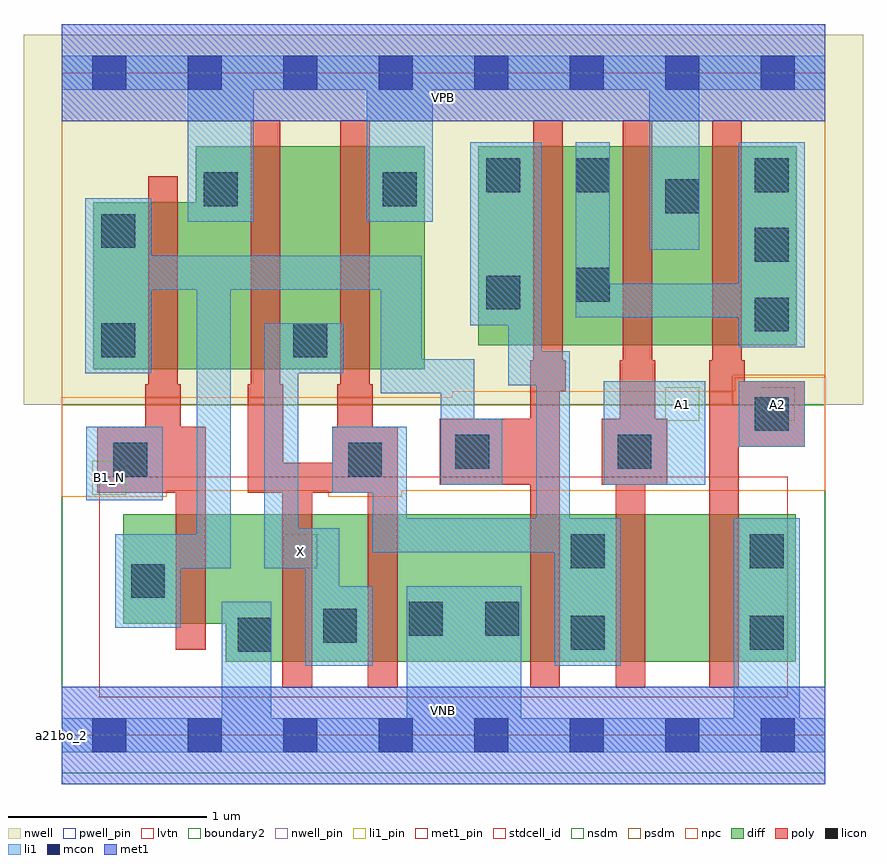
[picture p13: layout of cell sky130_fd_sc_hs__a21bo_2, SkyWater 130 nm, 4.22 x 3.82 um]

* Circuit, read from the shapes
.subckt sky130_fd_sc_hs__a21bo_2 A1 A2 B1_N VGND VNB VPB VPWR X
XM1 VGND B1_N n1 VNB sky130_fd_pr__nfet_01v8_lvt w=0.55 l=0.15
XM2 X n2 VGND VNB sky130_fd_pr__nfet_01v8_lvt w=0.74 l=0.15 m=2
XM3 n2 n1 VGND VNB sky130_fd_pr__nfet_01v8_lvt w=0.74 l=0.15
XM4 n3 A1 n2 VNB sky130_fd_pr__nfet_01v8_lvt w=0.74 l=0.15
XM5 VGND A2 n3 VNB sky130_fd_pr__nfet_01v8_lvt w=0.74 l=0.15
XM6 VPWR B1_N n1 VPB sky130_fd_pr__pfet_01v8 w=0.84 l=0.15
XM7 X n2 VPWR VPB sky130_fd_pr__pfet_01v8 w=1.12 l=0.15 m=2
XM8 n4 n1 n2 VPB sky130_fd_pr__pfet_01v8 w=1 l=0.15
XM9 VPWR A1 n4 VPB sky130_fd_pr__pfet_01v8 w=1 l=0.15
XM10 n4 A2 VPWR VPB sky130_fd_pr__pfet_01v8 w=1 l=0.15
.ends

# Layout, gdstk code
import gdstk
lib = gdstk.Library(unit=1e-6, precision=1e-09)
def R(c, l, rs):  # rectangles x0, y0, x1, y1
    for r in rs: c.add(gdstk.rectangle(r[:2], r[2:], *l))
def A(c, l, x, y, w, h, nx, ny, dx, dy):  # array of equal rectangles
    R(c, l, [(x+i*dx, y+j*dy, x+i*dx+w, y+j*dy+h) for i in range(nx) for j in range(ny)])
def P(c, l, *ps):  # polygons
    for p in ps: c.add(gdstk.Polygon(p, *l))
nwell_pin = (64, 16)
nwell = (64, 20)
diff = (65, 20)
poly = (66, 20)
licon = (66, 44)
li1_pin = (67, 16)
li1 = (67, 20)
mcon = (67, 44)
met1_pin = (68, 16)
met1 = (68, 20)
stdcell_id = (81, 4)
nsdm = (93, 44)
psdm = (94, 20)
npc = (95, 20)
pwell_pin = (122, 16)
lvtn = (125, 44)
boundary2 = (236, 0)

sky130_fd_sc_hs__a21bo_2 = lib.new_cell('sky130_fd_sc_hs__a21bo_2')
R(sky130_fd_sc_hs__a21bo_2, nwell_pin, [(0,3.085,3.84,3.33)])
R(sky130_fd_sc_hs__a21bo_2, nwell, [(-0.19,1.66,4.03,3.52)])
R(sky130_fd_sc_hs__a21bo_2, diff, [(2.095,1.96,3.695,2.96)])
P(sky130_fd_sc_hs__a21bo_2, diff, [(1.825,2.96),(0.675,2.96),(0.675,2.68),(0.16,2.68),(0.16,1.84),(1.825,1.84)],
  [(3.69,1.11),(0.31,1.11),(0.31,0.56),(0.825,0.56),(0.825,0.37),(3.69,0.37)])
P(sky130_fd_sc_hs__a21bo_2, poly, [(3.735,1.78),(3.435,1.78),(3.435,1.885),(3.42,1.885),(3.42,3.09),(3.27,3.09),(3.27,1.885),(3.255,1.885),(3.255,0.24),(3.405,0.24),(3.405,1.45),(3.735,1.45)],
  [(3.045,1.59),(2.985,1.59),(2.985,1.885),(2.97,1.885),(2.97,3.09),(2.82,3.09),(2.82,1.885),(2.805,1.885),(2.805,1.59),(2.715,1.59),(2.715,1.26),(2.785,1.26),(2.785,0.24),(2.935,0.24),(2.935,1.26),(3.045,1.26)],
  [(2.535,1.885),(2.52,1.885),(2.52,3.09),(2.37,3.09),(2.37,1.885),(2.355,1.885),(2.355,1.59),(1.9,1.59),(1.9,1.26),(2.355,1.26),(2.355,0.24),(2.505,0.24),(2.505,1.73),(2.535,1.73)],
  [(1.69,1.55),(1.565,1.55),(1.565,1.765),(1.55,1.765),(1.55,3.09),(1.4,3.09),(1.4,1.765),(1.385,1.765),(1.385,1.55),(1.36,1.55),(1.36,1.37),(1.115,1.37),(1.115,1.765),(1.1,1.765),(1.1,3.09),(0.95,3.09),(0.95,1.765),(0.935,1.765),(0.935,1.22),(1.11,1.22),(1.11,0.24),(1.26,0.24),(1.26,1.22),(1.54,1.22),(1.54,0.24),(1.69,0.24)],
  [(0.725,1.55),(0.6,1.55),(0.6,1.765),(0.585,1.765),(0.585,2.81),(0.435,2.81),(0.435,1.765),(0.42,1.765),(0.42,1.55),(0.18,1.55),(0.18,1.22),(0.575,1.22),(0.575,0.43),(0.725,0.43)])
A(sky130_fd_sc_hs__a21bo_2, licon, 3.485, 2.03, 0.17, 0.17, 1, 3, 0, 0.35)
R(sky130_fd_sc_hs__a21bo_2, licon, [(0.885,0.42,1.055,0.59), (2.56,0.43,2.73,0.6), (3.46,0.43,3.63,0.6), (1.315,0.465,1.485,0.635), (1.745,0.5,1.915,0.67), (2.13,0.5,2.3,0.67), (0.35,0.69,0.52,0.86), (2.56,0.84,2.73,1.01), (3.46,0.84,3.63,1.01), (0.26,1.3,0.43,1.47), (1.44,1.3,1.61,1.47), (1.98,1.34,2.15,1.51), (2.795,1.34,2.965,1.51), (3.485,1.53,3.655,1.7), (0.2,1.9,0.37,2.07), (1.165,1.9,1.335,2.07), (2.135,2.14,2.305,2.31), (2.585,2.18,2.755,2.35), (0.2,2.45,0.37,2.62), (3.035,2.625,3.205,2.795), (0.715,2.66,0.885,2.83), (1.615,2.66,1.785,2.83), (2.135,2.73,2.305,2.9), (2.585,2.73,2.755,2.9)])
R(sky130_fd_sc_hs__a21bo_2, li1_pin, [(1.115,0.84,1.285,1.01), (0.155,1.21,0.325,1.38), (3.035,1.58,3.205,1.75), (3.515,1.58,3.685,1.75)])
R(sky130_fd_sc_hs__a21bo_2, li1, [(0.125,1.18,0.51,1.55), (2.725,1.26,3.235,1.78), (3.405,1.45,3.735,1.78)])
P(sky130_fd_sc_hs__a21bo_2, li1, [(0.635,2.58),(0.635,3.245),(0,3.245),(0,3.415),(3.84,3.415),(3.84,3.245),(3.205,3.245),(3.205,2.44),(2.955,2.44),(2.955,3.245),(1.865,3.245),(1.865,2.58),(1.535,2.58),(1.535,3.245),(0.965,3.245),(0.965,2.58)],
  [(3.38,0.085),(3.38,1.09),(3.71,1.09),(3.71,0.085),(3.84,0.085),(3.84,-0.085),(0,-0.085),(0,0.085),(0.805,0.085),(0.805,0.67),(1.055,0.67),(1.055,0.085),(1.735,0.085),(1.735,0.75),(2.31,0.75),(2.31,0.085)],
  [(2.215,1.59),(2.075,1.59),(2.075,1.89),(1.81,1.89),(1.81,2.41),(0.45,2.41),(0.45,2.7),(0.12,2.7),(0.12,1.82),(0.45,1.82),(0.45,2.24),(0.68,2.24),(0.68,1.01),(0.27,1.01),(0.27,0.54),(0.6,0.54),(0.6,0.84),(0.85,0.84),(0.85,2.24),(1.605,2.24),(1.605,1.72),(1.905,1.72),(1.905,1.26),(2.215,1.26)],
  [(1.02,0.84),(1.02,2.07),(1.415,2.07),(1.415,1.82),(1.19,1.82),(1.19,1.04),(1.395,1.04),(1.395,0.75),(1.565,0.75),(1.565,0.35),(1.225,0.35),(1.225,0.84)],
  [(1.735,1.09),(2.385,1.09),(2.385,1.76),(2.245,1.76),(2.245,2.06),(2.055,2.06),(2.055,2.98),(2.415,2.98),(2.415,1.93),(2.555,1.93),(2.555,1.09),(2.81,1.09),(2.81,0.35),(2.48,0.35),(2.48,0.92),(1.565,0.92),(1.565,1.22),(1.36,1.22),(1.36,1.55),(1.735,1.55)],
  [(3.405,1.95),(3.405,2.1),(2.585,2.1),(2.585,2.98),(2.755,2.98),(2.755,2.27),(3.405,2.27),(3.405,2.98),(3.735,2.98),(3.735,1.95)])
A(sky130_fd_sc_hs__a21bo_2, mcon, 0.155, -0.085, 0.17, 0.17, 8, 2, 0.48, 3.33)
R(sky130_fd_sc_hs__a21bo_2, met1_pin, [(0,0,3.84,0.245), (0,3.085,3.84,3.33)])
R(sky130_fd_sc_hs__a21bo_2, met1, [(0,-0.245,3.84,0.245), (0,3.085,3.84,3.575)])
R(sky130_fd_sc_hs__a21bo_2, stdcell_id, [(0,0,3.84,3.33)])
R(sky130_fd_sc_hs__a21bo_2, nsdm, [(0,-0.19,3.84,1.66)])
P(sky130_fd_sc_hs__a21bo_2, psdm, [(3.84,3.52),(0,3.52),(0,1.66),(3.375,1.66),(3.375,1.81),(3.84,1.81)])
P(sky130_fd_sc_hs__a21bo_2, npc, [(3.84,1.8),(3.385,1.8),(3.385,1.73),(1.965,1.73),(1.965,1.7),(0,1.7),(0,1.2),(0.53,1.2),(0.53,1.23),(1.34,1.23),(1.34,1.2),(1.71,1.2),(1.71,1.23),(3.84,1.23)])
R(sky130_fd_sc_hs__a21bo_2, pwell_pin, [(0,0,3.84,0.245)])
R(sky130_fd_sc_hs__a21bo_2, lvtn, [(0.19,0.19,3.65,1.3)])
R(sky130_fd_sc_hs__a21bo_2, boundary2, [(0,0,3.84,3.33)])
sky130_fd_sc_hs__a21bo_2.add(gdstk.Label('a21bo_2', (0,0), layer=83, texttype=44))
sky130_fd_sc_hs__a21bo_2.add(gdstk.Label('VNB', (1.92,0.123), layer=64, texttype=59))
sky130_fd_sc_hs__a21bo_2.add(gdstk.Label('VPB', (1.92,3.208), layer=64, texttype=5))
sky130_fd_sc_hs__a21bo_2.add(gdstk.Label('VPWR', (1.92,3.208), layer=68, texttype=5))
sky130_fd_sc_hs__a21bo_2.add(gdstk.Label('VGND', (1.92,0.123), layer=68, texttype=5))
sky130_fd_sc_hs__a21bo_2.add(gdstk.Label('B1_N', (0.24,1.295), layer=67, texttype=5))
sky130_fd_sc_hs__a21bo_2.add(gdstk.Label('A2', (3.6,1.665), layer=67, texttype=5))
sky130_fd_sc_hs__a21bo_2.add(gdstk.Label('A1', (3.12,1.665), layer=67, texttype=5))
sky130_fd_sc_hs__a21bo_2.add(gdstk.Label('X', (1.2,0.925), layer=67, texttype=5))

lib.write_gds('sky130_fd_sc_hs__a21bo_2.gds')
